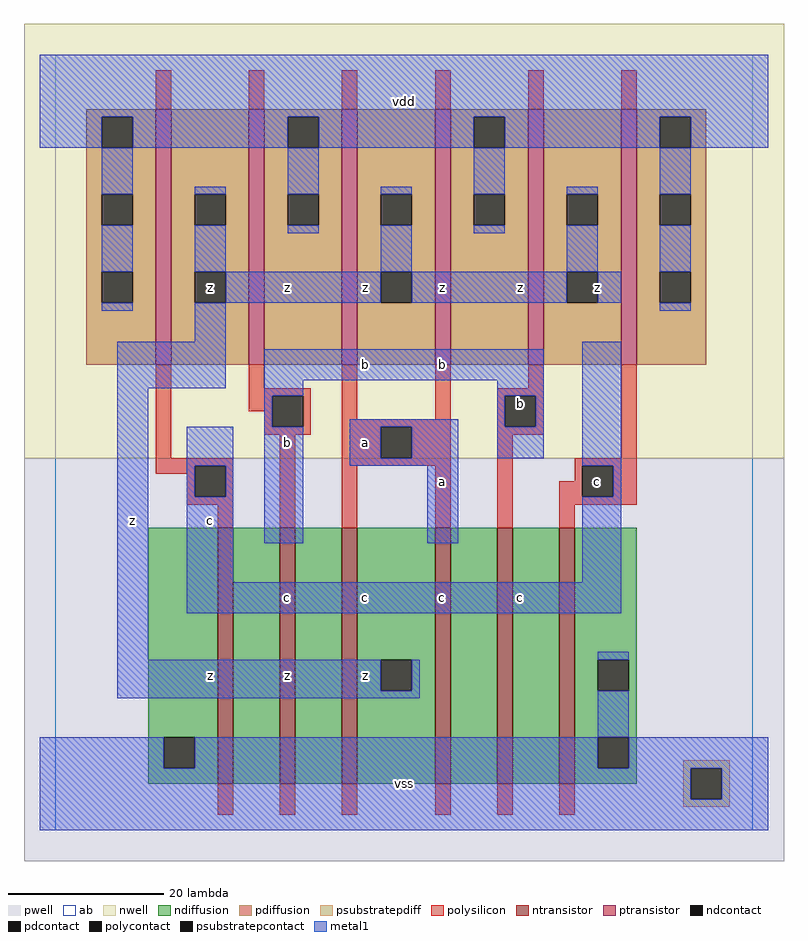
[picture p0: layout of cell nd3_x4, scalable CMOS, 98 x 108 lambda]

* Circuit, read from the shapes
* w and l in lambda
.subckt nd3_x4 a b c vdd vss z
M1 n1 c vss vss nfet w=33 l=2
M2 n2 b n1 vss nfet w=33 l=2
M3 z a n2 vss nfet w=33 l=2
M4 n3 a z vss nfet w=33 l=2
M5 n4 b n3 vss nfet w=33 l=2
M6 vss c n4 vss nfet w=33 l=2
M7 z c vdd n5 pfet w=33 l=2 m=2
M8 vdd b z n5 pfet w=33 l=2 m=2
M9 z a vdd n5 pfet w=33 l=2 m=2
.ends

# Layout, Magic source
magic
tech scmos
<< ab >>
rect 0 0 90 100
<< pwell >>
rect -4 -4 94 48
<< nwell >>
rect -4 48 94 104
<< polysilicon >>
rect 13 93 15 98
rect 25 93 27 98
rect 37 93 39 98
rect 49 93 51 98
rect 61 93 63 98
rect 73 93 75 98
rect 13 48 15 60
rect 25 57 27 60
rect 25 56 33 57
rect 25 54 28 56
rect 27 52 28 54
rect 32 52 33 56
rect 27 51 33 52
rect 37 53 39 60
rect 49 53 51 60
rect 61 57 63 60
rect 37 52 51 53
rect 13 47 23 48
rect 13 46 18 47
rect 17 43 18 46
rect 22 43 23 47
rect 17 42 23 43
rect 21 39 23 42
rect 29 39 31 51
rect 37 48 42 52
rect 46 48 51 52
rect 37 47 51 48
rect 37 39 39 47
rect 49 39 51 47
rect 57 56 63 57
rect 57 52 58 56
rect 62 52 63 56
rect 57 51 63 52
rect 57 39 59 51
rect 73 48 75 60
rect 67 47 75 48
rect 67 45 68 47
rect 65 43 68 45
rect 72 43 75 47
rect 65 42 75 43
rect 65 39 67 42
rect 21 2 23 6
rect 29 2 31 6
rect 37 2 39 6
rect 49 2 51 6
rect 57 2 59 6
rect 65 2 67 6
<< ndiffusion >>
rect 12 12 21 39
rect 12 8 14 12
rect 18 8 21 12
rect 12 6 21 8
rect 23 6 29 39
rect 31 6 37 39
rect 39 22 49 39
rect 39 18 42 22
rect 46 18 49 22
rect 39 6 49 18
rect 51 6 57 39
rect 59 6 65 39
rect 67 22 75 39
rect 67 18 70 22
rect 74 18 75 22
rect 67 12 75 18
rect 67 8 70 12
rect 74 8 75 12
rect 67 6 75 8
<< pdiffusion >>
rect 4 92 13 93
rect 4 88 6 92
rect 10 88 13 92
rect 4 82 13 88
rect 4 78 6 82
rect 10 78 13 82
rect 4 72 13 78
rect 4 68 6 72
rect 10 68 13 72
rect 4 60 13 68
rect 15 82 25 93
rect 15 78 18 82
rect 22 78 25 82
rect 15 72 25 78
rect 15 68 18 72
rect 22 68 25 72
rect 15 60 25 68
rect 27 92 37 93
rect 27 88 30 92
rect 34 88 37 92
rect 27 82 37 88
rect 27 78 30 82
rect 34 78 37 82
rect 27 60 37 78
rect 39 82 49 93
rect 39 78 42 82
rect 46 78 49 82
rect 39 72 49 78
rect 39 68 42 72
rect 46 68 49 72
rect 39 60 49 68
rect 51 92 61 93
rect 51 88 54 92
rect 58 88 61 92
rect 51 82 61 88
rect 51 78 54 82
rect 58 78 61 82
rect 51 60 61 78
rect 63 82 73 93
rect 63 78 66 82
rect 70 78 73 82
rect 63 72 73 78
rect 63 68 66 72
rect 70 68 73 72
rect 63 60 73 68
rect 75 92 84 93
rect 75 88 78 92
rect 82 88 84 92
rect 75 82 84 88
rect 75 78 78 82
rect 82 78 84 82
rect 75 72 84 78
rect 75 68 78 72
rect 82 68 84 72
rect 75 60 84 68
<< metal1 >>
rect -2 92 92 100
rect -2 88 6 92
rect 10 88 30 92
rect 34 88 54 92
rect 58 88 78 92
rect 82 88 92 92
rect 6 82 10 88
rect 6 72 10 78
rect 6 67 10 68
rect 18 82 22 83
rect 18 72 22 78
rect 30 82 34 88
rect 30 77 34 78
rect 42 82 46 83
rect 42 72 46 78
rect 54 82 58 88
rect 54 77 58 78
rect 66 82 70 83
rect 66 72 70 78
rect 78 82 82 88
rect 78 72 82 78
rect 22 68 42 72
rect 46 68 66 72
rect 70 68 73 72
rect 18 63 22 68
rect 78 67 82 68
rect 8 57 22 63
rect 27 58 63 62
rect 8 22 12 57
rect 27 56 32 58
rect 27 52 28 56
rect 57 56 63 58
rect 17 47 23 52
rect 17 43 18 47
rect 22 43 23 47
rect 17 32 23 43
rect 27 37 32 52
rect 38 52 52 53
rect 38 48 42 52
rect 46 48 52 52
rect 57 52 58 56
rect 62 52 63 56
rect 57 48 63 52
rect 38 47 52 48
rect 48 37 52 47
rect 68 47 73 63
rect 72 43 73 47
rect 68 32 73 43
rect 17 28 73 32
rect 70 22 74 23
rect 8 18 42 22
rect 46 18 47 22
rect 8 17 47 18
rect 70 12 74 18
rect -2 8 14 12
rect 18 8 70 12
rect 74 8 92 12
rect -2 4 82 8
rect 86 4 92 8
rect -2 0 92 4
<< ntransistor >>
rect 21 6 23 39
rect 29 6 31 39
rect 37 6 39 39
rect 49 6 51 39
rect 57 6 59 39
rect 65 6 67 39
<< ptransistor >>
rect 13 60 15 93
rect 25 60 27 93
rect 37 60 39 93
rect 49 60 51 93
rect 61 60 63 93
rect 73 60 75 93
<< polycontact >>
rect 28 52 32 56
rect 18 43 22 47
rect 42 48 46 52
rect 58 52 62 56
rect 68 43 72 47
<< ndcontact >>
rect 14 8 18 12
rect 42 18 46 22
rect 70 18 74 22
rect 70 8 74 12
<< pdcontact >>
rect 6 88 10 92
rect 6 78 10 82
rect 6 68 10 72
rect 18 78 22 82
rect 18 68 22 72
rect 30 88 34 92
rect 30 78 34 82
rect 42 78 46 82
rect 42 68 46 72
rect 54 88 58 92
rect 54 78 58 82
rect 66 78 70 82
rect 66 68 70 72
rect 78 88 82 92
rect 78 78 82 82
rect 78 68 82 72
<< psubstratepcontact >>
rect 82 4 86 8
<< psubstratepdiff >>
rect 81 8 87 9
rect 81 4 82 8
rect 86 4 87 8
rect 81 3 87 4
<< labels >>
rlabel metal1 10 40 10 40 6 z
rlabel metal1 30 20 30 20 6 z
rlabel metal1 20 20 20 20 6 z
rlabel metal1 30 30 30 30 6 c
rlabel metal1 20 40 20 40 6 c
rlabel metal1 30 50 30 50 6 b
rlabel pdcontact 20 70 20 70 6 z
rlabel metal1 30 70 30 70 6 z
rlabel metal1 45 6 45 6 6 vss
rlabel metal1 40 20 40 20 6 z
rlabel metal1 40 30 40 30 6 c
rlabel metal1 50 30 50 30 6 c
rlabel metal1 40 50 40 50 6 a
rlabel metal1 50 45 50 45 6 a
rlabel metal1 40 60 40 60 6 b
rlabel metal1 50 60 50 60 6 b
rlabel metal1 40 70 40 70 6 z
rlabel metal1 50 70 50 70 6 z
rlabel metal1 45 94 45 94 6 vdd
rlabel metal1 60 30 60 30 6 c
rlabel polycontact 70 45 70 45 6 c
rlabel polycontact 60 55 60 55 6 b
rlabel metal1 60 70 60 70 6 z
rlabel metal1 70 70 70 70 6 z
<< end >>
